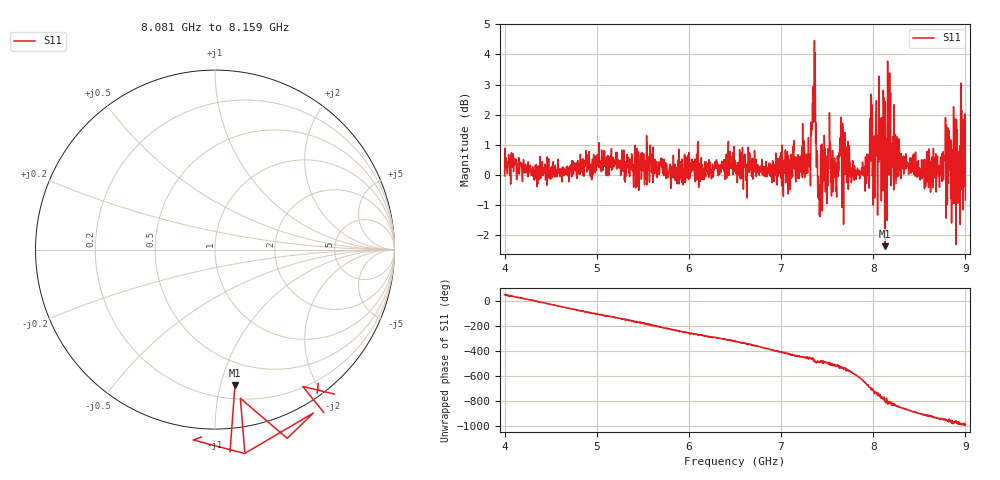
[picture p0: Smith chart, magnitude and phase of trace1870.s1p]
! Created with skrf 1.8.0 (http://scikit-rf.org).
# Hz S RI R 50.0
!freq ReS11 ImS11
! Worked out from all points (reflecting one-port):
!   1601 points, 4 GHz to 9 GHz, reference 50 ohm
!   lowest |S11| = -2.4 dB at 8.125 GHz (marker M1), VSWR 7.41, Z = 15.4 - j55.5 ohm
!   phase of S11 starts at 52 deg and turns -1044 deg over the sweep
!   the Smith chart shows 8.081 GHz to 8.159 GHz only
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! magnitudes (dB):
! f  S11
! 4 GHz  0.0
! 4.625 GHz  -0.2
! 5.25 GHz  0.3
! 5.875 GHz  0.2
! 6.5 GHz  0.2
! 7.125 GHz  -0.1
! 7.297 GHz  1.2
! 7.35 GHz  2.8
! 7.372 GHz  2.9
! 7.4 GHz  -0.8
! 7.422 GHz  -1.4
! 7.512 GHz  0.9
! 7.588 GHz  -0.1
! 7.647 GHz  0.7
! 7.75 GHz  0.4
! 7.934 GHz  0.0
! 7.962 GHz  1.9
! 8.022 GHz  0.5
! 8.053 GHz  1.3
! 8.125 GHz  -2.4
! 8.178 GHz  3.4
! 8.216 GHz  1.3
! 8.375 GHz  0.4
! 8.556 GHz  -0.5
! 8.819 GHz  0.5
! 8.875 GHz  -0.2
! 8.972 GHz  0.7
! 9 GHz  -0.8
